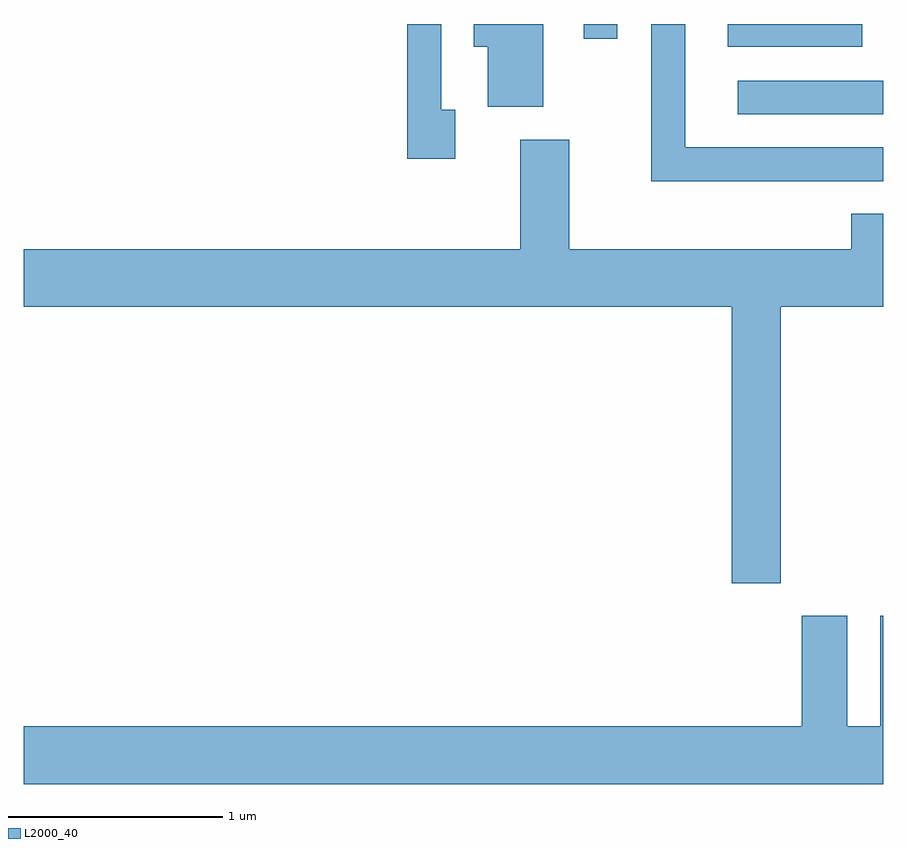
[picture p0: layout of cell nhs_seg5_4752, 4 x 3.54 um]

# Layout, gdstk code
import gdstk
lib = gdstk.Library(unit=1e-6, precision=1e-09)
def R(c, l, rs):  # rectangles x0, y0, x1, y1
    for r in rs: c.add(gdstk.rectangle(r[:2], r[2:], *l))
def P(c, l, *ps):  # polygons
    for p in ps: c.add(gdstk.Polygon(p, *l))
L2000_40 = (2000, 40)

nhs_seg5_4752 = lib.new_cell('nhs_seg5_4752')
R(nhs_seg5_4752, L2000_40, [(328.933,1497.651,329.611,1497.809), (328.886,1497.966,329.513,1498.072), (328.216,1498.003,328.374,1498.072)])
P(nhs_seg5_4752, L2000_40, [(327.619,1497.674),(327.554,1497.674),(327.554,1498.072),(327.396,1498.072),(327.396,1497.446),(327.619,1497.446)],
  [(328.029,1498.072),(327.706,1498.072),(327.706,1497.966),(327.771,1497.966),(327.771,1497.686),(328.029,1497.686)],
  [(329.611,1497.499),(328.689,1497.499),(328.689,1498.072),(328.531,1498.072),(328.531,1497.341),(329.611,1497.341)],
  [(329.134,1496.756),(329.611,1496.756),(329.611,1497.189),(329.461,1497.189),(329.461,1497.024),(328.149,1497.024),(328.149,1497.534),(327.921,1497.534),(327.921,1497.024),(325.611,1497.024),(325.611,1496.756),(328.906,1496.756),(328.906,1495.471),(329.134,1495.471)],
  [(329.611,1495.319),(329.596,1495.319),(329.596,1494.804),(329.444,1494.804),(329.444,1495.319),(329.231,1495.319),(329.231,1494.804),(325.611,1494.804),(325.611,1494.536),(329.611,1494.536)])

lib.write_gds('nhs_seg5_4752.gds')
